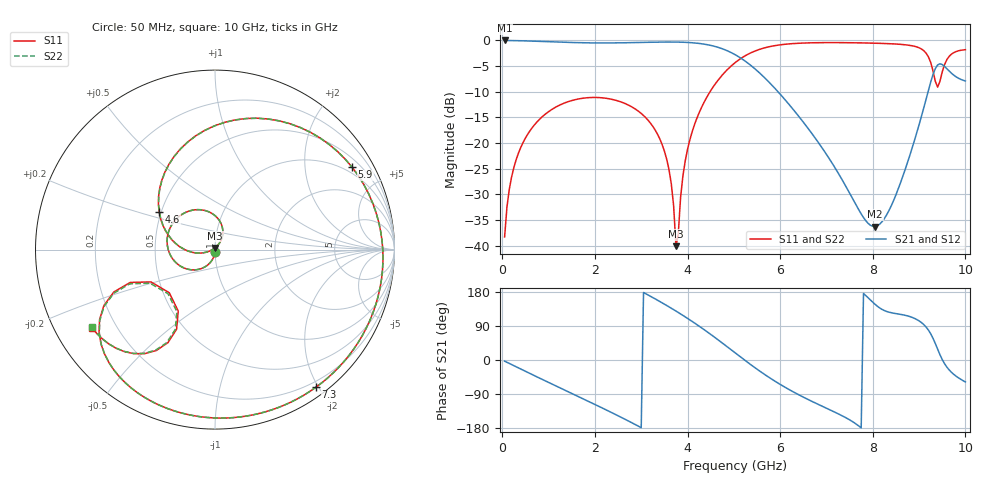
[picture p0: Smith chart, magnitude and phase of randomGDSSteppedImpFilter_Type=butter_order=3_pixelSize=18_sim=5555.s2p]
! freq	dB(S11)	phase(S11)	dB(S12)	phase(S12)
!  dB(S21)	phase(S21)	dB(S22)	phase(S22)
!S-par simulation data
#  GHz  S  DB  R 50
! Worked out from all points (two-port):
!   200 points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, 50 MHz to 10 GHz, reference 50 ohm
!   highest |S21| = -0.01 dB at 50 MHz (marker M1); lowest = -36.3 dB at 8.05 GHz (marker M2)
!   |S21| within 3 dB of the highest: start of sweep to 5.071 GHz
!   lowest |S11| = -40.1 dB at 3.75 GHz (marker M3), VSWR 1.02, Z = 50.1 + j0.984 ohm
!   |S11| at or under -10 dB: start of sweep to 4.487 GHz
!   |S22| runs from -39.9 to -0.4 dB; largest |S21 - S12| = 0
!   S11 on the Smith chart (normalised r, x): 50 MHz: 1.00, -0.02; 4.6 GHz: 0.49, +0.24; 5.9 GHz: 0.77, +3.45; 7.3 GHz: 0.12, -1.97; 10 GHz: 0.11, -0.29
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0.05  -38.33 -90.2  -0.01 -3.0  -0.01 -3.0  -38.33 -90.2
0.2  -26.67 -101.5  -0.03 -12.0  -0.03 -12.0  -26.67 -101.5
0.5  -19.04 -120.3  -0.10 -29.9  -0.10 -29.9  -19.04 -120.3
1.15  -13.03 -158.6  -0.31 -68.0  -0.31 -68.0  -13.03 -158.7
1.75  -11.26 166.6  -0.46 -102.7  -0.46 -102.7  -11.26 166.6
2.7  -12.51 110.4  -0.46 -159.5  -0.46 -159.5  -12.51 110.3
3.4  -19.19 66.4  -0.33 154.5  -0.33 154.5  -19.18 66.5
3.65  -28.01 55.4  -0.32 136.6  -0.32 136.6  -27.98 55.8
3.75  -40.13 85.1  -0.33 129.2  -0.33 129.2  -39.85 86.4
4  -21.24 -166.8  -0.40 109.9  -0.40 109.9  -21.24 -167.2
4.6  -8.47 145.7  -1.20 58.6  -1.20 58.6  -8.47 145.5
5.05  -4.18 104.3  -2.90 16.7  -2.90 16.7  -4.18 104.1
5.45  -2.10 67.9  -5.50 -19.8  -5.50 -19.8  -2.09 67.7
5.9  -1.00 31.0  -9.48 -56.9  -9.48 -56.9  -1.00 30.9
6.7  -0.47 -21.9  -18.34 -110.0  -18.34 -110.0  -0.46 -22.0
7.3  -0.44 -53.7  -26.58 -144.8  -26.58 -144.8  -0.44 -53.7
8.05  -0.55 -88.4  -36.29 146.9  -36.29 146.9  -0.55 -88.4
8.35  -0.64 -101.9  -33.16 126.2  -33.16 126.2  -0.64 -101.8
9.1  -2.00 -144.4  -13.19 93.6  -13.19 93.6  -1.98 -144.1
9.35  -7.96 -153.3  -5.51 43.6  -5.51 43.6  -7.80 -152.7
9.6  -3.75 -120.1  -5.53 -18.7  -5.53 -18.7  -3.72 -120.6
10  -1.81 -147.5  -7.91 -58.0  -7.91 -58.0  -1.81 -147.7
